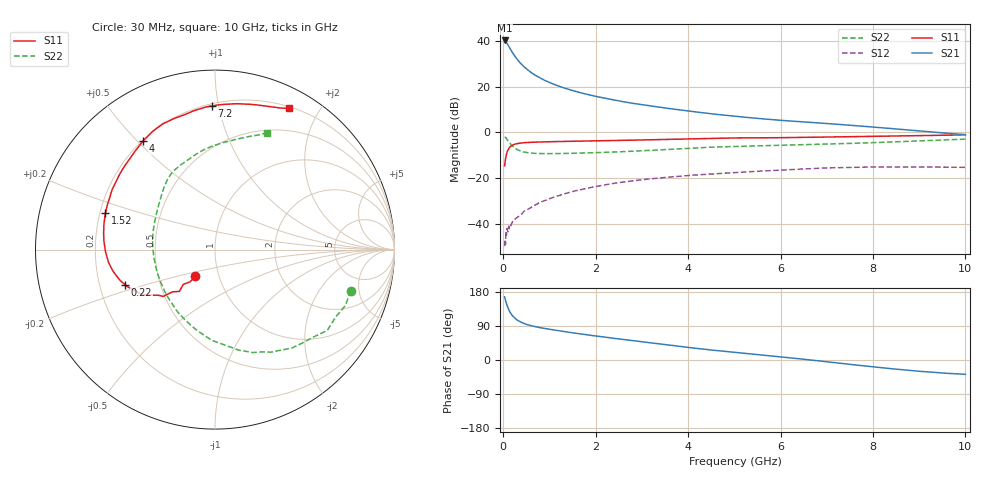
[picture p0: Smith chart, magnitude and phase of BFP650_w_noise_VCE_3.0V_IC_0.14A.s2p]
! Infineon Technologies  Discrete & RF Semiconductors
! BFP650
! VCE =  3.0 V,  IC = 0.14 A
! Common Emitter S-Parameters:  Jan 2016
# GHz  S  MA  R  50
!  f  S11  S21  S12  S22
! GHz  MAG  ANG  MAG  ANG  MAG  ANG  MAG  ANG
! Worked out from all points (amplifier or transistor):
!   229 points, 30 MHz to 10 GHz, reference 50 ohm
!   highest |S21| = 40.4 dB at 30 MHz (marker M1)
!   |S21| within 3 dB of that: start of sweep to 132.1 MHz
!   unconditionally stable (mu >= 1): 964.1 MHz to end of sweep
!   at 280 MHz: K = 0.74, MSG = 35.2 dB, |S12| = -37.6 dB
!   at 1.78 GHz: K = 1.04, MAG = 19.6 dB, |S12| = -24.6 dB
!   at 10 GHz: K = 1.03, MAG = 6.1 dB, |S12| = -15.3 dB
!   lowest NFmin = 1.78 dB at 450 MHz
!   S11 on the Smith chart (normalised r, x): 30 MHz: 0.77, -0.24; 220 MHz: 0.31, -0.17; 1.52 GHz: 0.22, +0.16; 4 GHz: 0.20, +0.52; 7.2 GHz: 0.21, +0.95; 10 GHz: 0.22, +1.63
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0.03  0.1857 -126.3  104.7 166.6  0.0032 78.4  0.7904 -16.9
0.04  0.2263 -127.7  103.6 161.7  0.0044 79.0  0.7903 -23.2
0.06  0.3058 -130.4  98.83 153.1  0.0067 75.2  0.7708 -35.7
0.08  0.3703 -137.1  91.94 145.0  0.0078 61.4  0.7115 -47.2
0.1  0.4058 -141.2  85.03 138.4  0.0066 62.1  0.6712 -56.4
0.13  0.4616 -146.8  74.74 130.0  0.0077 70.0  0.6109 -69.9
0.15  0.4855 -149.9  68.91 125.6  0.0083 67.8  0.5748 -76.8
0.2  0.5279 -156.8  56.66 116.6  0.0109 59.3  0.5056 -92.1
0.22  0.5383 -158.8  52.9 114.3  0.0115 60.1  0.4833 -96.6
0.3  0.57 -165.5  40.52 105.6  0.0136 62.8  0.4234 -113.9
0.36  0.5842 -169.0  34.32 101.4  0.0152 64.4  0.3983 -123.4
0.6  0.6103 -178.7  20.86 90.6  0.0226 66.3  0.3532 -148.6
1  0.6278 171.3  12.5 81.0  0.0353 65.4  0.3429 -170.8
1.52  0.6439 161.4  8.223 71.4  0.0514 60.3  0.351 172.8
1.7  0.6484 158.2  7.338 68.4  0.0561 58.9  0.3543 168.4
3.4  0.6977 132.0  3.566 42.1  0.1009 39.7  0.4155 137.0
4  0.7251 123.7  2.959 33.0  0.1139 32.8  0.4495 129.1
5.1  0.7597 111.5  2.225 19.1  0.1333 21.8  0.4973 116.9
6.8  0.7897 95.7  1.626 -1.8  0.1634 4.4  0.5508 98.7
7.2  0.8001 91.3  1.522 -7.3  0.1686 -0.3  0.5645 94.9
8.4  0.8328 76.4  1.22 -23.0  0.1758 -13.6  0.619 80.6
10  0.8888 62.3  0.898 -37.8  0.1717 -26.4  0.7132 66.1
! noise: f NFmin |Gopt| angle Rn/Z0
0.45  1.78  0.64  -171  0.06
0.9  1.8  0.65  -164  0.07
1.9  1.98  0.67  -149  0.12
2.4  2.15  0.65  -140  0.18
3.5  2.42  0.65  -118  0.33
